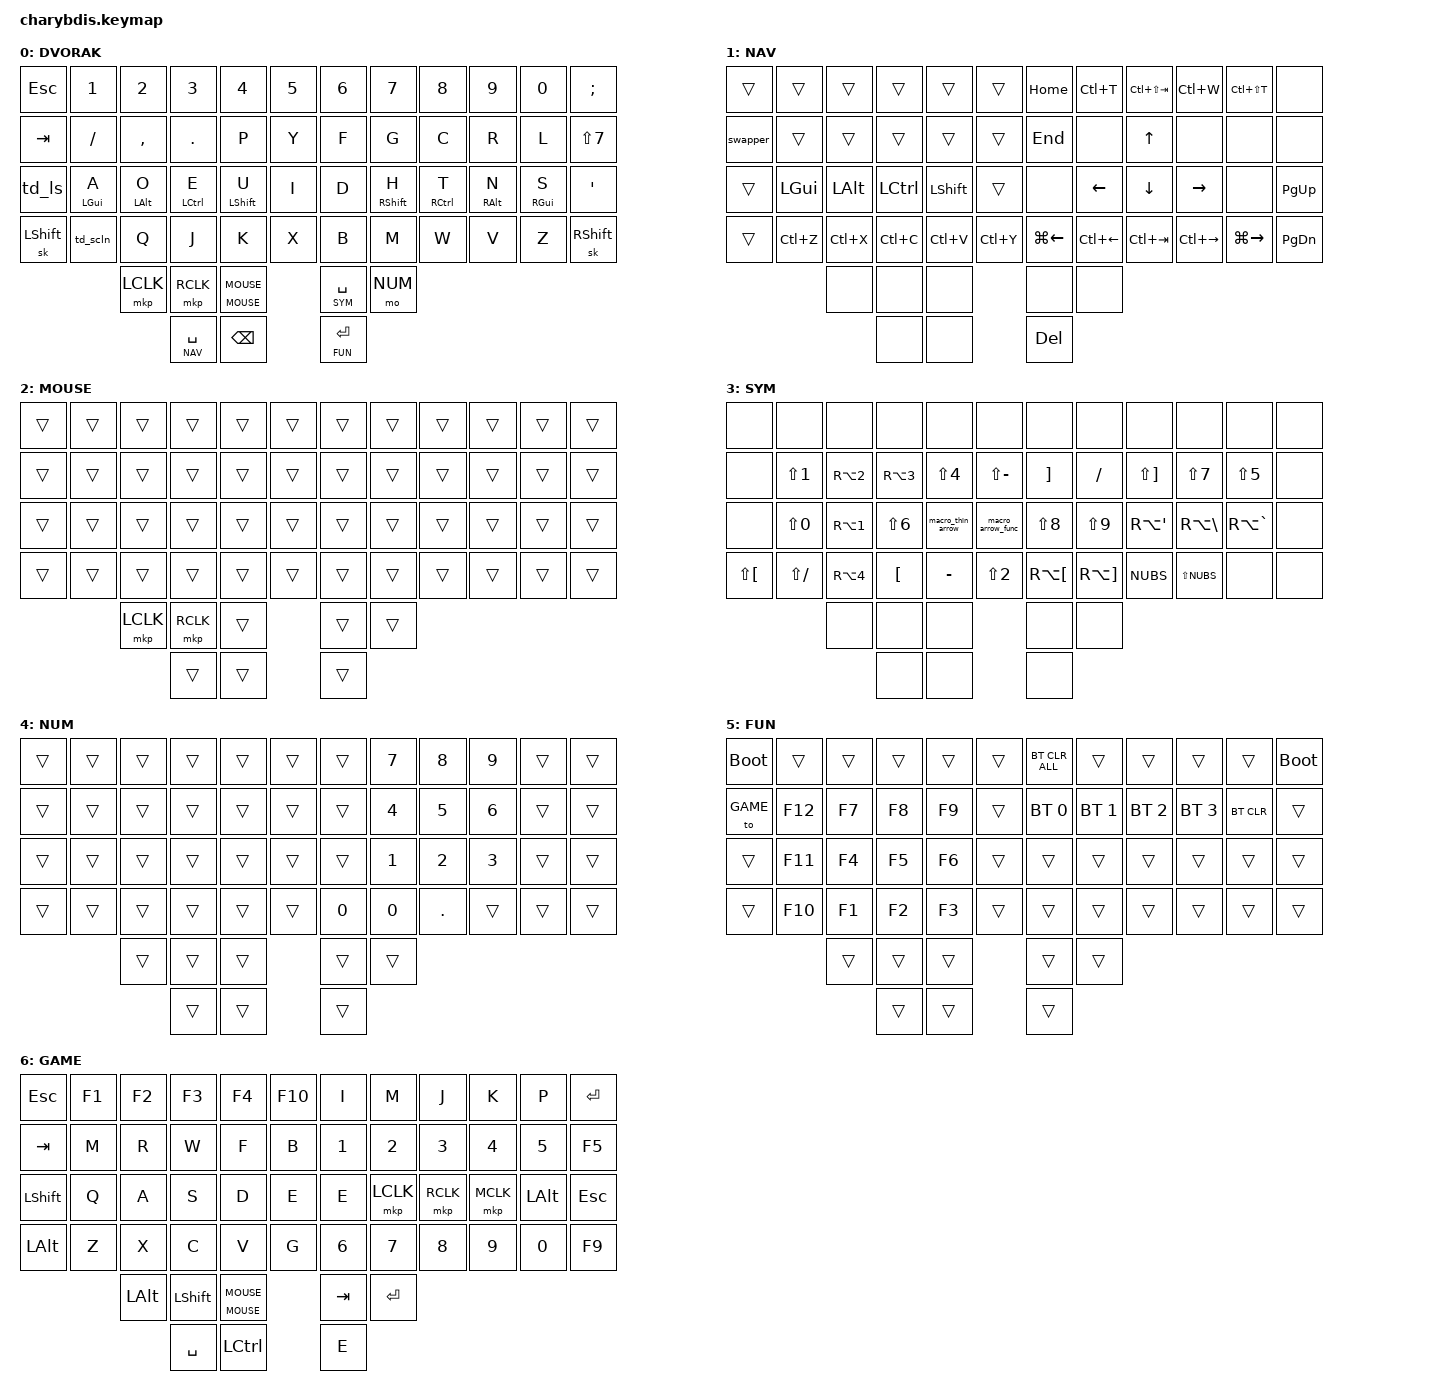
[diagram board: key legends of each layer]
#include <behaviors.dtsi>
#include <dt-bindings/zmk/mouse.h>
#include <dt-bindings/zmk/bt.h>
#include <dt-bindings/zmk/keys.h>
#include <dt-bindings/zmk/pointing.h>
#include <dt-bindings/zmk/input_transform.h>
#include <dt-bindings/zmk/outputs.h>

/* Definimos capas por nombre por claridad */
#define DVORAK 0
//#define QWERTY 1
#define NAV 1
#define MOUSE 2
#define SYM 3
#define NUM 4
#define FUN 5
#define GAME 6

// --- SPANISH OS KEY DEFINITIONS (Mapeo HID para OS en Español) ---
// Símbolos estándar
#define ES_NTILDE   SEMICOLON        // Ñ (Tecla ; en US)
#define ES_ACUT     SINGLE_QUOTE     // Tilde ´ (Tecla ' en US)
#define ES_PLUS     RIGHT_BRACKET    // + (Tecla ] en US)
#define ES_ASTR     LS(RIGHT_BRACKET)// *
#define ES_LBRC     RA(LEFT_BRACKET) // [
#define ES_RBRC     RA(RIGHT_BRACKET)// ]
#define ES_LCBR     RA(SINGLE_QUOTE) // { (AltGr + ' en ES)
#define ES_RCBR     RA(BACKSLASH)    // } (AltGr + Ç en ES)
#define ES_LPAR     LS(N8)           // (
#define ES_RPAR     LS(N9)           // )
#define ES_EQUAL    LS(N0)           // =
#define ES_MINUS    SLASH            // - (Tecla / en US)
#define ES_UNDER    LS(SLASH)        // _
#define ES_SLASH    LS(N7)           // /
#define ES_BSLH     RA(GRAVE)        // \ (AltGr + º)
#define ES_PIPE     RA(N1)           // |
#define ES_AT       RA(N2)           // @
#define ES_HASH     RA(N3)           // #
#define ES_DLLR     LS(N4)           // $
#define ES_PRCNT    LS(N5)           // %
#define ES_AMPS     LS(N6)           // &
#define ES_LESS     NUBS             // < (Tecla ISO al lado de Z)
#define ES_GRTR     LS(NUBS)         // >
#define ES_QUOT     LS(N2)           // "
#define ES_SQUOT    MINUS            // ' (Comilla simple en tecla - US)
#define ES_QMARK    LS(MINUS)        // ?
#define ES_EXCL     LS(N1)           // !
#define ES_DOT      DOT              // .
#define ES_COMMA    COMMA            // ,
#define ES_COLON    LS(DOT)          // :
#define ES_SCLN     LS(COMMA)        // ;
#define ES_TILD     RA(N4)           // ~
#define ES_CIRC     LS(LEFT_BRACKET) // ^ (Shift + ` en ES)
#define ES_GRV      LEFT_BRACKET     // ` (Tecla ` en ES, que es [ en US)

&lt {
    quick-tap-ms = <200>;
};

&caps_word {
    continue-list = <UNDERSCORE MINUS BACKSPACE>;
};

/ {

    /* COMBOS */
    combos {
        compatible = "zmk,combos";

        // Brackets {} -> Dvoral C+R
        combo_lbrc {
            timeout-ms = <40>;
            key-positions = <19 20>; 
            bindings = <&kp ES_LCBR>; // {
            layers = <DVORAK>;
        };
        combo_rbrc {
            timeout-ms = <40>;
            key-positions = <20 21>;
            bindings = <&kp ES_RCBR>; // }
            layers = <DVORAK>;
        };

        // Parentheses () -> Dvoral U+E
        combo_lpar {
            timeout-ms = <40>;
            key-positions = <14 15>; 
            bindings = <&kp ES_LPAR>;
            layers = <DVORAK>;
        };
        combo_rpar {
            timeout-ms = <40>;
            key-positions = <15 16>; 
            bindings = <&kp ES_RPAR>;
            layers = <DVORAK>;
        };

        // Arrow =>
        combo_arrow {
            timeout-ms = <40>;
            key-positions = <16 19>;
            bindings = <&macro_arrow_func>;
            layers = <DVORAK>;
        };

        // Debug Salesforce
        combo_debug {
            timeout-ms = <50>;
            key-positions = <3 4>;
            bindings = <&macro_sys_debug>;
            layers = <DVORAK>;
        };

        // Exit GAME by pressing both top outer corners.
        combo_game_exit {
            timeout-ms = <100>;
            key-positions = <0 11>;
            bindings = <&to DVORAK>;
            layers = <GAME>;
        };
    };

    /* MACROS */
    macros {
        macro_arrow_func: macro_arrow_func {
            label = "ARROW_FUNC";
            compatible = "zmk,behavior-macro";
            #binding-cells = <0>;
            bindings = <&kp ES_EQUAL &kp ES_GRTR &kp SPACE>;
        };

        macro_thin_arrow: macro_thin_arrow {
            label = "THIN_ARROW";
            compatible = "zmk,behavior-macro";
            #binding-cells = <0>;
            bindings = <&kp ES_MINUS &kp ES_GRTR>;
        };

        macro_sys_debug: macro_sys_debug {
            label = "SYS_DEBUG";
            compatible = "zmk,behavior-macro";
            #binding-cells = <0>;
            bindings = <&kp S &kp Y &kp S &kp T &kp E &kp M &kp ES_DOT &kp D &kp E &kp B &kp U &kp G &kp ES_LPAR &kp ES_RPAR &kp ES_SCLN &kp LEFT &kp LEFT>;
        };

        swapper: swapper {
            label = "ALT_TAB_SWAPPER";
            compatible = "zmk,behavior-macro";
            #binding-cells = <0>;
            wait-ms = <0>;
            tap-ms = <0>;
            bindings
                = <&macro_press &kp LALT>
                , <&macro_tap &kp TAB>
                , <&macro_pause_for_release>
                , <&macro_release &kp LALT>;
        };
    };

    /* BEHAVIORS */
    behaviors {
        /* HOMEROW MODS */
        hm: homerow_mods {
            compatible = "zmk,behavior-hold-tap";
            label = "HOMEROW_MODS";
            #binding-cells = <2>;
            tapping-term-ms = <220>;
            quick-tap-ms = <0>;
            flavor = "tap-preferred"; 
            bindings = <&kp>, <&kp>;
        };

        // Tap Dance: ; (1 tap) vs : (2 taps)
        td_scln: tap_dance_semicolon {
            compatible = "zmk,behavior-tap-dance";
            label = "TD_SEMICOLON";
            #binding-cells = <0>;
            tapping-term-ms = <200>;
            bindings = <&kp ES_SCLN>, <&kp ES_COLON>;
        };

        tb_scroll: trackball_scroll_layer {
            compatible = "zmk,behavior-hold-tap";
            label = "TB_SCROLL";
            #binding-cells = <2>;
            tapping-term-ms = <200>;
            flavor = "hold-preferred";
            bindings = <&mo>, <&tog>;
        };

        // Tap Dances para Shift
        td_ls: tap_dance_left_shift {
            compatible = "zmk,behavior-tap-dance";
            label = "TD_LSHIFT";
            #binding-cells = <0>;
            tapping-term-ms = <200>;
            bindings = <&sk LSHFT>, <&caps_word>;
        };

        td_rs: tap_dance_right_shift {
            compatible = "zmk,behavior-tap-dance";
            label = "TD_RSHIFT";
            #binding-cells = <0>;
            tapping-term-ms = <200>;
            bindings = <&sk RSHFT>, <&caps_word>;
        };

    };

    /* KEYMAP */
    keymap {
        compatible = "zmk,keymap";

        // ------------------------------------------------------------------------------------------------------
        // LAYER 0: DVORAK (Dvorak on Spanish OS)
        // Notas:
        // - ES_SQUOT es '
        // - ES_COMMA es ,
        // - ES_DOT es .
        // - ES_SCLN es ;
        // - ES_NTILDE es Ñ (Añadido en lugar de BSLH)
        // ------------------------------------------------------------------------------------------------------
        DVORAK {
            label = "DVORAK";
            bindings = <
    &kp ESC    &kp N1      &kp N2      &kp N3       &kp N4       &kp N5               &kp N6       &kp N7       &kp N8       &kp N9      &kp N0          &kp ES_NTILDE
    &kp TAB    &kp ES_MINUS &kp ES_COMMA &kp ES_DOT &kp P        &kp Y                &kp F        &kp G        &kp C        &kp R       &kp L           &kp ES_SLASH
    &td_ls     &hm LGUI A  &hm LALT O  &hm LCTRL E  &hm LSHIFT U &kp I                &kp D        &hm RSHIFT H &hm RCTRL T  &hm RALT N  &hm RGUI S      &kp ES_ACUT
    &sk LSHFT  &td_scln       &kp Q       &kp J        &kp K        &kp X                &kp B        &kp M        &kp W        &kp V       &kp Z           &sk RSHFT
    
                            // CLUSTER IZQUIERDO                                         // CLUSTER DERECHO
                            &mkp LCLK   &mkp RCLK      &tb_scroll MOUSE MOUSE            &lt SYM SPACE   &mo NUM
                                        &lt NAV SPACE  &kp BSPC                          &lt FUN ENTER 
            >;
        };

        // ------------------------------------------------------------------------------------------------------
        // LAYER 1: QWERTY
        // ------------------------------------------------------------------------------------------------------
        /*QWERTY {
            bindings = <
    &kp ESC         &kp N1          &kp N2  &kp N3          &kp N4     &kp N5      &kp N6          &kp N7          &kp N8          &kp N9            &to 0                   &kp BACKSPACE
    &kp TAB         &kp Q           &kp W   &DOBLE_TECLA_E  &kp R      &kp T       &kp Y           &DOBLE_TECLA_U  &DOBLE_TECLA_I  &DOBLE_TECLA_O    &kp P                   &kp BSLH
    &kt LEFT_SHIFT  &DOBLE_TECLA_A  &kp S   &kp D           &kp F      &kp G       &kp H           &kp J           &kp K           &kp L             &DOBLE_TECLA_SEMICOLON  &kp SQT
    &kp LEFT_GUI    &kp Z           &kp X   &kp C           &kp V      &kp B       &DOBLE_TECLA_N  &kp M           &kp COMMA       &kp LEFT_BRACKET  &kp FSLH                &kp MINUS
                                        &kp LCTRL       &kp SPACE  &mo 3           &kp LALT        &kp GRAVE
                                                        &mkp MB1   &mkp MB2        &kp ENTER
            >;

            trackball-bindings = <&tmv_coarse>;
            label = "QWERTY";
        };*/

        // ------------------------------------------------------------------------------------------------------
        // LAYER 2: NAV
        // ------------------------------------------------------------------------------------------------------
        NAV {
            label = "NAV";
            bindings = <
    &trans     &trans       &trans       &trans       &trans       &trans               &kp HOME      &kp LC(T)     &kp LC(LS(TAB)) &kp LC(W)      &kp LC(LS(T))   &none
    &swapper   &trans       &trans       &trans       &trans       &trans               &kp END       &none         &kp UP          &none          &none           &none
    &trans     &kp LGUI     &kp LALT     &kp LCTRL    &kp LSHIFT   &trans               &none         &kp LEFT      &kp DOWN        &kp RIGHT      &none           &kp PG_UP
    &trans     &kp LC(Z)    &kp LC(X)    &kp LC(C)    &kp LC(V)    &kp LC(Y)            &kp LG(LEFT)  &kp LC(LEFT)  &kp LC(TAB)     &kp LC(RIGHT)  &kp LG(RIGHT)   &kp PG_DN
    
                            &none       &none       &none                                 &none       &none
                                        &none       &none                                 &kp DEL
            >;
        };

        // ------------------------------------------------------------------------------------------------------
        // LAYER 3: MOUSE (Scroll)
        // ------------------------------------------------------------------------------------------------------
        MOUSE {
            label = "MOUSE";
            bindings = <
    &trans     &trans       &trans       &trans       &trans       &trans               &trans       &trans       &trans       &trans      &trans          &trans
    &trans     &trans       &trans       &trans       &trans       &trans               &trans       &trans       &trans       &trans      &trans          &trans
    &trans     &trans       &trans       &trans       &trans       &trans               &trans       &trans       &trans       &trans      &trans          &trans
    &trans     &trans       &trans       &trans       &trans       &trans               &trans       &trans       &trans       &trans      &trans          &trans
    
                            &mkp LCLK    &mkp RCLK    &trans               &trans       &trans
                                         &trans       &trans               &trans
            >;
        };

        // ------------------------------------------------------------------------------------------------------
        // LAYER 4: SYM
        // Estructura:
        // Left:  Lógica y Sigils (! @ # $ % / Logic)
        // Right: Sintaxis y Estructura ( () {} [] <> Math )
        // ------------------------------------------------------------------------------------------------------
        SYM {
            label = "SYM";
            bindings = <
    &none      &none         &none        &none        &none             &none               &none        &none        &none        &none        &none          &none
    &none      &kp ES_EXCL   &kp ES_AT    &kp ES_HASH  &kp ES_DLLR       &kp ES_QMARK        &kp ES_PLUS  &kp ES_MINUS &kp ES_ASTR  &kp ES_SLASH &kp ES_PRCNT   &none
    &none      &kp ES_EQUAL  &kp ES_PIPE  &kp ES_AMPS  &macro_thin_arrow &macro_arrow_func   &kp ES_LPAR  &kp ES_RPAR  &kp ES_LCBR  &kp ES_RCBR  &kp ES_BSLH    &none
    &kp ES_CIRC &kp ES_UNDER &kp ES_TILD  &kp ES_GRV   &kp ES_SQUOT      &kp ES_QUOT         &kp ES_LBRC  &kp ES_RBRC  &kp ES_LESS  &kp ES_GRTR  &none          &none
    
                            &none       &none       &none               &none       &none
                                        &none       &none               &none
            >;
        };

        // ------------------------------------------------------------------------------------------------------
        // LAYER 5: NUM
        // ------------------------------------------------------------------------------------------------------
        num_layer {
            label = "NUM";
            bindings = <
    &trans     &trans       &trans       &trans       &trans       &trans               &trans       &kp N7       &kp N8       &kp N9      &trans          &trans
    &trans     &trans       &trans       &trans       &trans       &trans               &trans       &kp N4       &kp N5       &kp N6      &trans          &trans
    &trans     &trans       &trans       &trans       &trans       &trans               &trans       &kp N1       &kp N2       &kp N3      &trans          &trans
    &trans     &trans       &trans       &trans       &trans       &trans               &kp N0       &kp N0       &kp ES_DOT   &trans      &trans          &trans
    
                            &trans       &trans       &trans               &trans       &trans
                                         &trans       &trans               &trans
            >;
        };

        // ------------------------------------------------------------------------------------------------------
        // LAYER 6: FUN
        // ------------------------------------------------------------------------------------------------------
        FUN {
            label = "FUN";
            bindings = <
    &bootloader &trans      &trans       &trans       &trans       &trans               &bt BT_CLR_ALL &trans       &trans       &trans      &trans          &bootloader
    &to GAME   &kp F12      &kp F7       &kp F8       &kp F9       &trans               &bt BT_SEL 0 &bt BT_SEL 1 &bt BT_SEL 2 &bt BT_SEL 3 &bt BT_CLR   &trans
    &trans     &kp F11      &kp F4       &kp F5       &kp F6       &trans               &trans       &trans       &trans       &trans      &trans          &trans
    &trans     &kp F10      &kp F1       &kp F2       &kp F3       &trans               &trans       &trans       &trans       &trans      &trans          &trans
    
                            &trans       &trans       &trans               &trans       &trans
                                         &trans       &trans               &trans
            >;
        };

        // ------------------------------------------------------------------------------------------------------
        // LAYER 6: GAME - RPG action pad with W/S on the left middle finger.
        // Enter with FUN + physical Tab. Exit by pressing both top outer corners.
        // ------------------------------------------------------------------------------------------------------
        GAME {
            label = "GAME";
            bindings = <
    &kp ESC    &kp F1      &kp F2      &kp F3      &kp F4      &kp F10             &kp I       &kp M       &kp J       &kp K       &kp P       &kp ENTER
    &kp TAB    &kp M       &kp R       &kp W       &kp F       &kp B               &kp N1      &kp N2      &kp N3      &kp N4      &kp N5      &kp F5
    &kp LSHFT  &kp Q       &kp A       &kp S       &kp D       &kp E               &kp E       &mkp LCLK   &mkp RCLK   &mkp MCLK   &kp LALT    &kp ESC
    &kp LALT   &kp Z       &kp X       &kp C       &kp V       &kp G               &kp N6      &kp N7      &kp N8      &kp N9      &kp N0      &kp F9

                            &kp LALT    &kp LSHFT   &tb_scroll MOUSE MOUSE          &kp TAB     &kp ENTER
                                        &kp SPACE   &kp LCTRL                       &kp E
            >;
        };
    };
};
